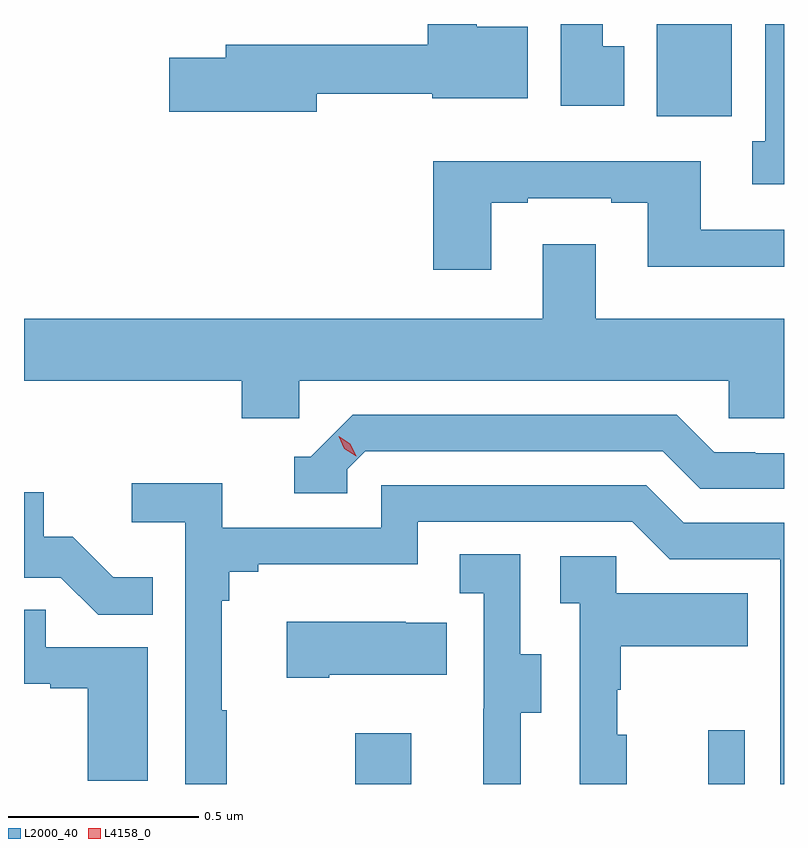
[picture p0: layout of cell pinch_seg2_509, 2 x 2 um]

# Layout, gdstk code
import gdstk
lib = gdstk.Library(unit=1e-6, precision=1e-09)
def R(c, l, rs):  # rectangles x0, y0, x1, y1
    for r in rs: c.add(gdstk.rectangle(r[:2], r[2:], *l))
def P(c, l, *ps):  # polygons
    for p in ps: c.add(gdstk.Polygon(p, *l))
L2000_40 = (2000, 40)
L4158_0 = (4158, 0)

pinch_seg2_509 = lib.new_cell('pinch_seg2_509')
R(pinch_seg2_509, L2000_40, [(977.68,587.967,977.827,588.1), (978.608,587.967,978.705,588.109), (978.473,589.724,978.67,589.966)])
P(pinch_seg2_509, L2000_40, [(978.388,589.908),(978.331,589.908),(978.331,589.967),(978.221,589.967),(978.221,589.752),(978.388,589.752)],
  [(978.808,589.967),(978.758,589.967),(978.758,589.658),(978.725,589.658),(978.725,589.545),(978.808,589.545)],
  [(977.578,589.783),(977.882,589.783),(977.882,589.772),(978.133,589.772),(978.133,589.96),(978,589.96),(978,589.966),(977.87,589.966),(977.87,589.912),(977.339,589.912),(977.339,589.878),(977.19,589.878),(977.19,589.736),(977.578,589.736)],
  [(978.037,589.497),(978.133,589.497),(978.133,589.509),(978.353,589.509),(978.353,589.497),(978.449,589.497),(978.449,589.328),(978.808,589.328),(978.808,589.425),(978.589,589.425),(978.589,589.606),(977.885,589.606),(977.885,589.32),(978.037,589.32)],
  [(977.532,589.028),(978.663,589.028),(978.663,588.93),(978.808,588.93),(978.808,589.192),(978.313,589.192),(978.313,589.387),(978.173,589.387),(978.173,589.192),(976.808,589.192),(976.808,589.028),(977.381,589.028),(977.381,588.93),(977.532,588.93)],
  [(977.658,588.795),(977.706,588.843),(978.489,588.843),(978.588,588.744),(978.808,588.744),(978.808,588.837),(978.732,588.837),(978.732,588.84),(978.625,588.84),(978.526,588.939),(977.673,588.939),(977.562,588.828),(977.519,588.828),(977.519,588.732),(977.658,588.732)],
  [(977.341,588.161),(977.329,588.161),(977.329,588.449),(977.348,588.449),(977.348,588.526),(977.425,588.526),(977.425,588.545),(977.844,588.545),(977.844,588.657),(978.408,588.657),(978.507,588.558),(978.798,588.558),(978.798,587.967),(978.808,587.967),(978.808,588.654),(978.544,588.654),(978.445,588.753),(977.748,588.753),(977.748,588.642),(977.33,588.642),(977.33,588.758),(977.091,588.758),(977.091,588.656),(977.232,588.656),(977.232,587.967),(977.341,587.967)],
  [(977.147,588.511),(977.043,588.511),(976.936,588.618),(976.86,588.618),(976.86,588.735),(976.808,588.735),(976.808,588.51),(976.905,588.51),(977.003,588.412),(977.147,588.412)],
  [(978.115,588.154),(978.169,588.154),(978.169,588.309),(978.114,588.309),(978.114,588.572),(977.955,588.572),(977.955,588.469),(978.018,588.469),(978.018,588.165),(978.017,588.165),(978.017,587.967),(978.115,587.967)],
  [(978.394,588.096),(978.369,588.096),(978.369,588.215),(978.379,588.215),(978.379,588.329),(978.713,588.329),(978.713,588.469),(978.366,588.469),(978.366,588.567),(978.219,588.567),(978.219,588.443),(978.27,588.443),(978.27,587.967),(978.394,587.967)],
  [(977.134,588.327),(976.865,588.327),(976.865,588.425),(976.808,588.425),(976.808,588.231),(976.877,588.231),(976.877,588.219),(976.976,588.219),(976.976,587.976),(977.134,587.976)],
  [(977.611,588.254),(977.921,588.254),(977.921,588.391),(977.813,588.391),(977.813,588.394),(977.499,588.394),(977.499,588.247),(977.611,588.247)])
P(pinch_seg2_509, L4158_0, [(977.682,588.829),(977.651,588.849),(977.636,588.882),(977.636,588.882),(977.636,588.882),(977.666,588.862),(977.682,588.829),(977.682,588.829)])

lib.write_gds('pinch_seg2_509.gds')
